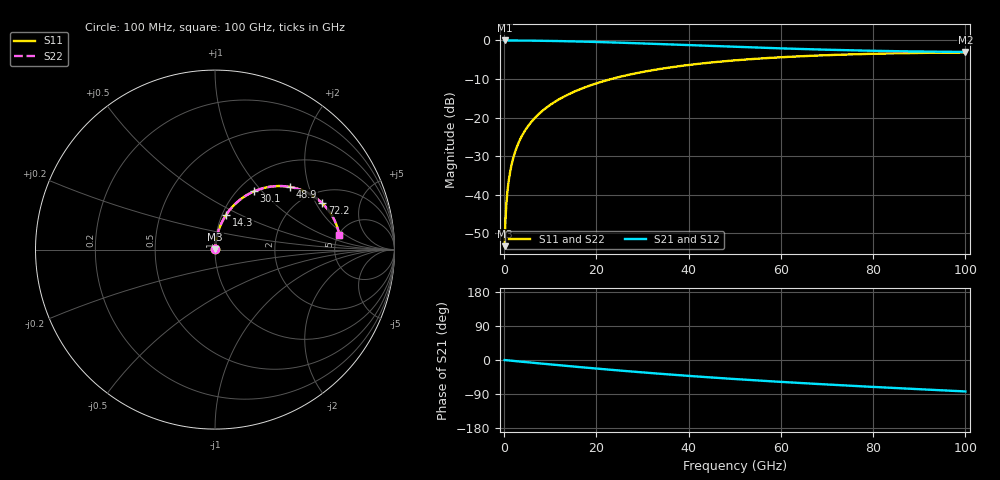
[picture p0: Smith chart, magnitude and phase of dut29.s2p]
! Touchstone file exported from HFSS 2026.1.0
!  File:  C:/ffzhzh/LocalFiles/Ansys_Project_Files/temp_train_RDL_29_1783497975_44152.aedt
!  Generated:  04:07:18 PM Jul  8, 2026
!  Design:  RDL
!  Project:  temp_train_RDL_29_1783497975_44152
! Variables:
!  h_bsmrdl = 2um
!  h_ox = 20um
!  h_rdl = 5um
!  h_sub = 80um
!  h_tmrdl = 4.41um
!  h_tsv = 80um
!  h_via = 3um
!  l_bsmrdl = 300um
!  l_sub = 645.39um
!  l_tmrdl = 245.39um
!  m_sub = 200um
!  pitch = 57.01um
!  r_tsv = 6um
!  s_tmrdl = 10um
!  w_bsmrdl = 18um
!  w_sub = 500um
!  w_tmrdl = 14.47um
!  x_tsv_center1 = 252.625um
!  x_tsv_center2 = 570.625um
!  x_tsv_center3 = 830.485um
!  x_tsv_center4 = 1148.485um
!  x_tsv_center5 = 1408.345um
!  x_tsv_center6 = 1726.345um
# GHz S MA R 50.000000
! Terminal data exported
! Port[1] = TM_RDL1_1_T1
! Port[2] = TM_RDL1_1_T2
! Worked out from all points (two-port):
!   1000 points, 100 MHz to 100 GHz, reference 50 ohm
!   highest |S21| = -0.01 dB at 100 MHz (marker M1); lowest = -3.0 dB at 100 GHz (marker M2)
!   |S21| within 3 dB of the highest: start of sweep to end of sweep
!   lowest |S11| = -53.3 dB at 100 MHz (marker M3), VSWR 1.00, Z = 50.1 + j0.158 ohm
!   |S11| at or under -10 dB: start of sweep to 23.22 GHz
!   |S22| runs from -53.3 to -3.1 dB; largest |S21 - S12| = 4.1e-15
!   S11 on the Smith chart (normalised r, x): 100 MHz: 1.00, +0.00; 14.3 GHz: 1.05, +0.43; 30.1 GHz: 1.18, +0.91; 48.9 GHz: 1.53, +1.52; 72.2 GHz: 2.52, +2.26; 100 GHz: 5.08, +1.60
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0.1  0.002163 46.6  0.9985 -0.1  0.9985 -0.1  0.002163 46.6
! Gamma 0 0 0 0
! Port Impedance 50 0 50 0
0.4  0.006396 75.0  0.9984 -0.5  0.9984 -0.5  0.006396 75.0
0.8  0.01235 81.1  0.9982 -1.0  0.9982 -1.0  0.01235 81.1
1  0.01535 82.3  0.9981 -1.2  0.9981 -1.2  0.01535 82.3
1.3  0.01986 83.3  0.998 -1.6  0.998 -1.6  0.01986 83.3
1.7  0.02587 83.8  0.9978 -2.0  0.9978 -2.0  0.02587 83.8
2.2  0.03339 84.0  0.9975 -2.6  0.9975 -2.6  0.03339 84.0
3.5  0.0528 83.3  0.9962 -4.1  0.9962 -4.1  0.0528 83.3
5.3  0.07929 81.6  0.9939 -6.2  0.9939 -6.2  0.07929 81.6
7.7  0.1139 79.1  0.9898 -9.0  0.9898 -9.0  0.1139 79.1
10.7  0.1561 75.9  0.9832 -12.4  0.9832 -12.4  0.156 75.9
14.3  0.2049 72.1  0.9735 -16.4  0.9735 -16.4  0.2049 72.1
16.8  0.2376 69.5  0.9657 -19.2  0.9657 -19.2  0.2376 69.5
22.8  0.3113 63.3  0.9439 -25.5  0.9439 -25.5  0.3113 63.3
30.1  0.391 56.2  0.9134 -32.8  0.9134 -32.8  0.391 56.2
33.4  0.4233 53.1  0.8988 -36.0  0.8988 -36.0  0.4233 53.1
48.9  0.5447 39.9  0.831 -49.4  0.831 -49.4  0.5447 39.9
50.1  0.5522 38.9  0.8261 -50.3  0.8261 -50.3  0.5522 38.9
66.7  0.6326 27.0  0.767 -62.4  0.767 -62.4  0.6326 27.0
72.2  0.651 23.4  0.7517 -66.1  0.7517 -66.1  0.651 23.3
83.4  0.6782 16.4  0.7276 -73.1  0.7276 -73.1  0.6782 16.4
100  0.697 6.7  0.7096 -83.0  0.7096 -83.0  0.697 6.6
